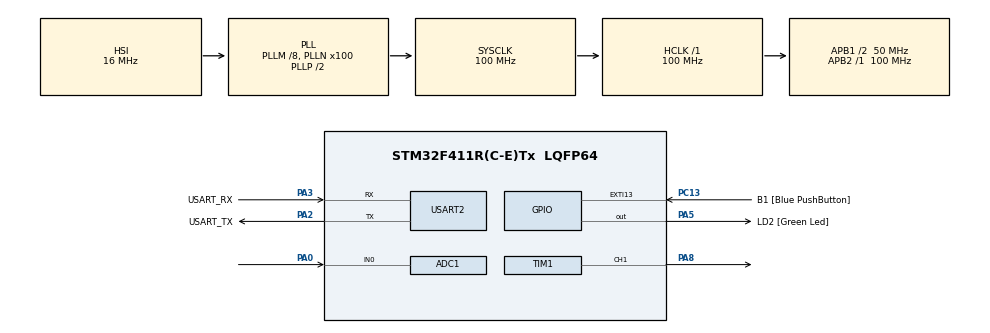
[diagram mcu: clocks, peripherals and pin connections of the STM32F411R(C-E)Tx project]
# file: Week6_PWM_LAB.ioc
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ADC1.Channel-0\#ChannelRegularConversion=ADC_CHANNEL_0
ADC1.ExternalTrigConv=ADC_EXTERNALTRIGCONV_T3_TRGO
ADC1.NbrOfConversionFlag=1
ADC1.Rank-0\#ChannelRegularConversion=1
ADC1.SamplingTime-0\#ChannelRegularConversion=ADC_SAMPLETIME_56CYCLES
ADC1.master=1
Mcu.Family=STM32F4
Mcu.Name=STM32F411R(C-E)Tx
Mcu.Package=LQFP64
NVIC.ADC_IRQn=true\:0\:0\:false\:false\:true\:true\:true
NVIC.PriorityGroup=NVIC_PRIORITYGROUP_0
NVIC.TIM1_TRG_COM_TIM11_IRQn=true\:0\:0\:false\:false\:true\:true\:true
PA0-WKUP.Signal=ADCx_IN0
PA13.GPIO_Label=TMS
PA13.Mode=Serial_Wire
PA13.Signal=SYS_JTMS-SWDIO
PA14.GPIO_Label=TCK
PA14.Mode=Serial_Wire
PA14.Signal=SYS_JTCK-SWCLK
PA2.GPIO_Label=USART_TX
PA2.Mode=Asynchronous
PA2.Signal=USART2_TX
PA3.GPIO_Label=USART_RX
PA3.Mode=Asynchronous
PA3.Signal=USART2_RX
PA5.GPIO_Label=LD2 [Green Led]
PA5.Signal=GPIO_Output
PA8.Signal=S_TIM1_CH1
PB3.GPIO_Label=SWO
PB3.Signal=SYS_JTDO-SWO
PC13-ANTI_TAMP.GPIO_Label=B1 [Blue PushButton]
PC13-ANTI_TAMP.GPIO_ModeDefaultEXTI=GPIO_MODE_IT_FALLING
PC13-ANTI_TAMP.Signal=GPXTI13
PC14-OSC32_IN.Mode=LSE-External-Oscillator
PC14-OSC32_IN.Signal=RCC_OSC32_IN
PC15-OSC32_OUT.Mode=LSE-External-Oscillator
PC15-OSC32_OUT.Signal=RCC_OSC32_OUT
PH0\ -\ OSC_IN.Mode=HSE-External-Clock-Source
PH0\ -\ OSC_IN.Signal=RCC_OSC_IN
PH1\ -\ OSC_OUT.Mode=HSE-External-Clock-Source
PH1\ -\ OSC_OUT.Signal=RCC_OSC_OUT
ProjectManager.HeapSize=0x200
ProjectManager.StackSize=0x400
ProjectManager.TargetToolchain=STM32CubeIDE
RCC.48MHZClocksFreq_Value=50000000
RCC.AHBFreq_Value=100000000
RCC.APB1CLKDivider=RCC_HCLK_DIV2
RCC.APB1Freq_Value=50000000
RCC.APB1TimFreq_Value=100000000
RCC.APB2Freq_Value=100000000
RCC.APB2TimFreq_Value=100000000
RCC.CortexFreq_Value=100000000
RCC.FLatency-AdvancedSettings=FLASH_LATENCY_3
RCC.HCLKFreq_Value=100000000
RCC.HSE_VALUE=8000000
RCC.HSI_VALUE=16000000
RCC.PLLM=8
RCC.PLLN=100
RCC.SYSCLKFreq_VALUE=100000000
RCC.SYSCLKSource=RCC_SYSCLKSOURCE_PLLCLK
RCC.VCOOutputFreq_Value=200000000
SH.ADCx_IN0.0=ADC1_IN0,IN0
SH.S_TIM1_CH1.0=TIM1_CH1,PWM Generation1 CH1
TIM1.Channel-PWM\ Generation1\ CH1=TIM_CHANNEL_1
TIM1.Period=10000
TIM11.Prescaler=99
TIM3.Period=1000
TIM3.Prescaler=99
TIM3.TIM_MasterOutputTrigger=TIM_TRGO_UPDATE
USART2.VirtualMode=VM_ASYNC
VP_TIM11_VS_ClockSourceINT.Mode=Enable_Timer
VP_TIM1_VS_ClockSourceINT.Mode=Internal
VP_TIM3_VS_ClockSourceINT.Mode=Internal
board=NUCLEO-F411RE

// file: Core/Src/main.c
/* USER CODE BEGIN Header */
/**
 ******************************************************************************
 * @file           : main.c
 * @brief          : Main program body
 ******************************************************************************
 * @attention
 *
 * <h2><center>&copy; Copyright (c) 2021 STMicroelectronics.
 * All rights reserved.</center></h2>
 *
 * This software component is licensed by ST under BSD 3-Clause license,
 * the "License"; You may not use this file except in compliance with the
 * License. You may obtain a copy of the License at:
 *                        opensource.org/licenses/BSD-3-Clause
 *
 ******************************************************************************
 */
/* USER CODE END Header */
#include "main.h"

ADC_HandleTypeDef hadc1;

TIM_HandleTypeDef htim1;
TIM_HandleTypeDef htim3;
TIM_HandleTypeDef htim11;

UART_HandleTypeDef huart2;

/* USER CODE BEGIN PV */

uint8_t ADCUpdateFlag = 0;
uint16_t ADCFeedBack = 0;

uint16_t PWMOut = 10000;
float V=0;
float R=0;
float Vin=0;
float Error=0;
float K=1;
float Proportional=0;
uint16_t setpoint=1;
uint64_t _micro = 0;
uint64_t TimeOutputLoop = 0;
/* USER CODE END PV */

void SystemClock_Config(void);
static void MX_GPIO_Init(void);
static void MX_USART2_UART_Init(void);
static void MX_ADC1_Init(void);
static void MX_TIM1_Init(void);
static void MX_TIM11_Init(void);
static void MX_TIM3_Init(void);
/* USER CODE BEGIN PFP */
uint64_t micros();
/* USER CODE END PFP */

int main(void) {

	/* MCU Configuration--------------------------------------------------------*/

	/* Reset of all peripherals, Initializes the Flash interface and the Systick. */
	HAL_Init();

	/* Configure the system clock */
	SystemClock_Config();

	/* Initialize all configured peripherals */
	MX_GPIO_Init();
	MX_USART2_UART_Init();
	MX_ADC1_Init();
	MX_TIM1_Init();
	MX_TIM11_Init();
	MX_TIM3_Init();
	/* USER CODE BEGIN 2 */
	HAL_ADC_Start_IT(&hadc1);
	HAL_TIM_Base_Start(&htim3);

	HAL_TIM_Base_Start(&htim1);
	HAL_TIM_PWM_Start(&htim1, TIM_CHANNEL_1);

	HAL_TIM_Base_Start_IT(&htim11);

	/* USER CODE END 2 */

	/* Infinite loop */
	while (1) {

		/* USER CODE BEGIN 3 */

		//1 Khz Loop
		if (micros() - TimeOutputLoop > 1000) {
			TimeOutputLoop = micros();
			// #001
			PControl();
			__HAL_TIM_SET_COMPARE(&htim1, TIM_CHANNEL_1, PWMOut);

		}

		if (ADCUpdateFlag) {
			ADCUpdateFlag = 0;
			//#002
		}

	}
	/* USER CODE END 3 */
}

void SystemClock_Config(void) {
	RCC_OscInitTypeDef RCC_OscInitStruct = { 0 };
	RCC_ClkInitTypeDef RCC_ClkInitStruct = { 0 };

	/** Configure the main internal regulator output voltage
	 */
	__HAL_RCC_PWR_CLK_ENABLE();
	__HAL_PWR_VOLTAGESCALING_CONFIG(PWR_REGULATOR_VOLTAGE_SCALE1);
	/** Initializes the RCC Oscillators according to the specified parameters
	 * in the RCC_OscInitTypeDef structure.
	 */
	RCC_OscInitStruct.OscillatorType = RCC_OSCILLATORTYPE_HSI;
	RCC_OscInitStruct.HSIState = RCC_HSI_ON;
	RCC_OscInitStruct.HSICalibrationValue = RCC_HSICALIBRATION_DEFAULT;
	RCC_OscInitStruct.PLL.PLLState = RCC_PLL_ON;
	RCC_OscInitStruct.PLL.PLLSource = RCC_PLLSOURCE_HSI;
	RCC_OscInitStruct.PLL.PLLM = 8;
	RCC_OscInitStruct.PLL.PLLN = 100;
	RCC_OscInitStruct.PLL.PLLP = RCC_PLLP_DIV2;
	RCC_OscInitStruct.PLL.PLLQ = 4;
	if (HAL_RCC_OscConfig(&RCC_OscInitStruct) != HAL_OK) {
		Error_Handler();
	}
	/** Initializes the CPU, AHB and APB buses clocks
	 */
	RCC_ClkInitStruct.ClockType = RCC_CLOCKTYPE_HCLK | RCC_CLOCKTYPE_SYSCLK
			| RCC_CLOCKTYPE_PCLK1 | RCC_CLOCKTYPE_PCLK2;
	RCC_ClkInitStruct.SYSCLKSource = RCC_SYSCLKSOURCE_PLLCLK;
	RCC_ClkInitStruct.AHBCLKDivider = RCC_SYSCLK_DIV1;
	RCC_ClkInitStruct.APB1CLKDivider = RCC_HCLK_DIV2;
	RCC_ClkInitStruct.APB2CLKDivider = RCC_HCLK_DIV1;

	if (HAL_RCC_ClockConfig(&RCC_ClkInitStruct, FLASH_LATENCY_3) != HAL_OK) {
		Error_Handler();
	}
}

static void MX_ADC1_Init(void) {

	ADC_ChannelConfTypeDef sConfig = { 0 };

	/** Configure the global features of the ADC (Clock, Resolution, Data Alignment and number of conversion)
	 */
	hadc1.Instance = ADC1;
	hadc1.Init.ClockPrescaler = ADC_CLOCK_SYNC_PCLK_DIV4;
	hadc1.Init.Resolution = ADC_RESOLUTION_12B;
	hadc1.Init.ScanConvMode = DISABLE;
	hadc1.Init.ContinuousConvMode = DISABLE;
	hadc1.Init.DiscontinuousConvMode = DISABLE;
	hadc1.Init.ExternalTrigConvEdge = ADC_EXTERNALTRIGCONVEDGE_RISING;
	hadc1.Init.ExternalTrigConv = ADC_EXTERNALTRIGCONV_T3_TRGO;
	hadc1.Init.DataAlign = ADC_DATAALIGN_RIGHT;
	hadc1.Init.NbrOfConversion = 1;
	hadc1.Init.DMAContinuousRequests = DISABLE;
	hadc1.Init.EOCSelection = ADC_EOC_SINGLE_CONV;
	if (HAL_ADC_Init(&hadc1) != HAL_OK) {
		Error_Handler();
	}
	/** Configure for the selected ADC regular channel its corresponding rank in the sequencer and its sample time.
	 */
	sConfig.Channel = ADC_CHANNEL_0;
	sConfig.Rank = 1;
	sConfig.SamplingTime = ADC_SAMPLETIME_3CYCLES;
	if (HAL_ADC_ConfigChannel(&hadc1, &sConfig) != HAL_OK) {
		Error_Handler();
	}

}

static void MX_TIM1_Init(void) {

	TIM_ClockConfigTypeDef sClockSourceConfig = { 0 };
	TIM_MasterConfigTypeDef sMasterConfig = { 0 };
	TIM_OC_InitTypeDef sConfigOC = { 0 };
	TIM_BreakDeadTimeConfigTypeDef sBreakDeadTimeConfig = { 0 };

	htim1.Instance = TIM1;
	htim1.Init.Prescaler = 1;
	htim1.Init.CounterMode = TIM_COUNTERMODE_UP;
	htim1.Init.Period = 10000;
	htim1.Init.ClockDivision = TIM_CLOCKDIVISION_DIV1;
	htim1.Init.RepetitionCounter = 0;
	htim1.Init.AutoReloadPreload = TIM_AUTORELOAD_PRELOAD_ENABLE;
	if (HAL_TIM_Base_Init(&htim1) != HAL_OK) {
		Error_Handler();
	}
	sClockSourceConfig.ClockSource = TIM_CLOCKSOURCE_INTERNAL;
	if (HAL_TIM_ConfigClockSource(&htim1, &sClockSourceConfig) != HAL_OK) {
		Error_Handler();
	}
	if (HAL_TIM_PWM_Init(&htim1) != HAL_OK) {
		Error_Handler();
	}
	sMasterConfig.MasterOutputTrigger = TIM_TRGO_RESET;
	sMasterConfig.MasterSlaveMode = TIM_MASTERSLAVEMODE_DISABLE;
	if (HAL_TIMEx_MasterConfigSynchronization(&htim1, &sMasterConfig)
			!= HAL_OK) {
		Error_Handler();
	}
	sConfigOC.OCMode = TIM_OCMODE_PWM1;
	sConfigOC.Pulse = 5000;
	sConfigOC.OCPolarity = TIM_OCPOLARITY_HIGH;
	sConfigOC.OCNPolarity = TIM_OCNPOLARITY_HIGH;
	sConfigOC.OCFastMode = TIM_OCFAST_DISABLE;
	sConfigOC.OCIdleState = TIM_OCIDLESTATE_RESET;
	sConfigOC.OCNIdleState = TIM_OCNIDLESTATE_RESET;
	if (HAL_TIM_PWM_ConfigChannel(&htim1, &sConfigOC, TIM_CHANNEL_1)
			!= HAL_OK) {
		Error_Handler();
	}
	__HAL_TIM_DISABLE_OCxPRELOAD(&htim1, TIM_CHANNEL_1);
	sBreakDeadTimeConfig.OffStateRunMode = TIM_OSSR_DISABLE;
	sBreakDeadTimeConfig.OffStateIDLEMode = TIM_OSSI_DISABLE;
	sBreakDeadTimeConfig.LockLevel = TIM_LOCKLEVEL_OFF;
	sBreakDeadTimeConfig.DeadTime = 0;
	sBreakDeadTimeConfig.BreakState = TIM_BREAK_DISABLE;
	sBreakDeadTimeConfig.BreakPolarity = TIM_BREAKPOLARITY_HIGH;
	sBreakDeadTimeConfig.AutomaticOutput = TIM_AUTOMATICOUTPUT_DISABLE;
	if (HAL_TIMEx_ConfigBreakDeadTime(&htim1, &sBreakDeadTimeConfig)
			!= HAL_OK) {
		Error_Handler();
	}
	HAL_TIM_MspPostInit(&htim1);

}

static void MX_TIM3_Init(void) {

	TIM_ClockConfigTypeDef sClockSourceConfig = { 0 };
	TIM_MasterConfigTypeDef sMasterConfig = { 0 };

	htim3.Instance = TIM3;
	htim3.Init.Prescaler = 100;
	htim3.Init.CounterMode = TIM_COUNTERMODE_UP;
	htim3.Init.Period = 2000;
	htim3.Init.ClockDivision = TIM_CLOCKDIVISION_DIV1;
	htim3.Init.AutoReloadPreload = TIM_AUTORELOAD_PRELOAD_DISABLE;
	if (HAL_TIM_Base_Init(&htim3) != HAL_OK) {
		Error_Handler();
	}
	sClockSourceConfig.ClockSource = TIM_CLOCKSOURCE_INTERNAL;
	if (HAL_TIM_ConfigClockSource(&htim3, &sClockSourceConfig) != HAL_OK) {
		Error_Handler();
	}
	sMasterConfig.MasterOutputTrigger = TIM_TRGO_UPDATE;
	sMasterConfig.MasterSlaveMode = TIM_MASTERSLAVEMODE_DISABLE;
	if (HAL_TIMEx_MasterConfigSynchronization(&htim3, &sMasterConfig)
			!= HAL_OK) {
		Error_Handler();
	}

}

static void MX_TIM11_Init(void) {

	htim11.Instance = TIM11;
	htim11.Init.Prescaler = 100;
	htim11.Init.CounterMode = TIM_COUNTERMODE_UP;
	htim11.Init.Period = 65535;
	htim11.Init.ClockDivision = TIM_CLOCKDIVISION_DIV1;
	htim11.Init.AutoReloadPreload = TIM_AUTORELOAD_PRELOAD_DISABLE;
	if (HAL_TIM_Base_Init(&htim11) != HAL_OK) {
		Error_Handler();
	}

}

static void MX_USART2_UART_Init(void) {

	huart2.Instance = USART2;
	huart2.Init.BaudRate = 115200;
	huart2.Init.WordLength = UART_WORDLENGTH_8B;
	huart2.Init.StopBits = UART_STOPBITS_1;
	huart2.Init.Parity = UART_PARITY_NONE;
	huart2.Init.Mode = UART_MODE_TX_RX;
	huart2.Init.HwFlowCtl = UART_HWCONTROL_NONE;
	huart2.Init.OverSampling = UART_OVERSAMPLING_16;
	if (HAL_UART_Init(&huart2) != HAL_OK) {
		Error_Handler();
	}

}

static void MX_GPIO_Init(void) {
	GPIO_InitTypeDef GPIO_InitStruct = { 0 };

	/* GPIO Ports Clock Enable */
	__HAL_RCC_GPIOC_CLK_ENABLE();
	__HAL_RCC_GPIOH_CLK_ENABLE();
	__HAL_RCC_GPIOA_CLK_ENABLE();
	__HAL_RCC_GPIOB_CLK_ENABLE();

	/*Configure GPIO pin Output Level */
	HAL_GPIO_WritePin(LD2_GPIO_Port, LD2_Pin, GPIO_PIN_RESET);

	/*Configure GPIO pin : B1_Pin */
	GPIO_InitStruct.Pin = B1_Pin;
	GPIO_InitStruct.Mode = GPIO_MODE_IT_FALLING;
	GPIO_InitStruct.Pull = GPIO_NOPULL;
	HAL_GPIO_Init(B1_GPIO_Port, &GPIO_InitStruct);

	/*Configure GPIO pin : LD2_Pin */
	GPIO_InitStruct.Pin = LD2_Pin;
	GPIO_InitStruct.Mode = GPIO_MODE_OUTPUT_PP;
	GPIO_InitStruct.Pull = GPIO_NOPULL;
	GPIO_InitStruct.Speed = GPIO_SPEED_FREQ_LOW;
	HAL_GPIO_Init(LD2_GPIO_Port, &GPIO_InitStruct);

}

/* USER CODE BEGIN 4 */

void HAL_ADC_ConvCpltCallback(ADC_HandleTypeDef *hadc) {
	ADCFeedBack = HAL_ADC_GetValue(&hadc1);
	ADCUpdateFlag = 1;
	V=(ADCFeedBack*3.3)/4096;

}
void PControl()
{
	Error=setpoint-V;
	Proportional=Error;
	PWMOut=PWMOut+(K*Error);
}
void HAL_TIM_PeriodElapsedCallback(TIM_HandleTypeDef *htim) {
	if (htim == &htim11) {
		_micro += 65535;
	}
}

__inline__ uint64_t micros() {
	return _micro + htim11.Instance->CNT;
}
/* USER CODE END 4 */

void Error_Handler(void) {
	__disable_irq();
	while (1) {
	}
}

/************************ (C) COPYRIGHT STMicroelectronics *****END OF FILE****/
